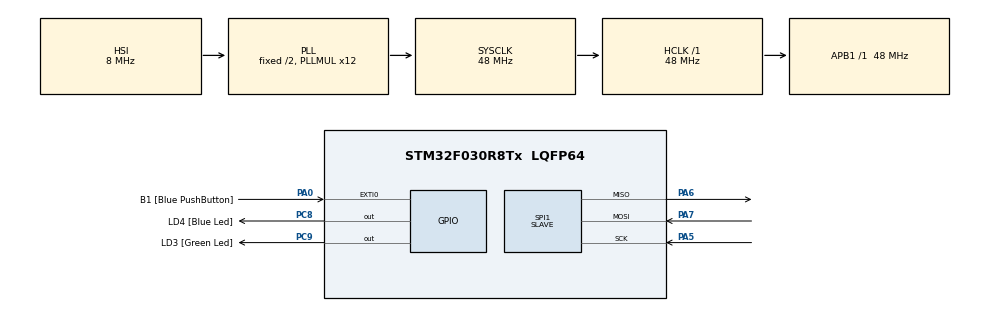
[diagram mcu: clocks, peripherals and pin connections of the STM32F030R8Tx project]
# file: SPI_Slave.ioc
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Mcu.Family=STM32F0
Mcu.Name=STM32F030R8Tx
Mcu.Package=LQFP64
NVIC.SPI1_IRQn=true\:0\:0\:false\:false\:true\:true\:true
PA0.GPIO_Label=B1 [Blue PushButton]
PA0.GPIO_ModeDefaultEXTI=GPIO_MODE_EVT_RISING
PA0.Signal=GPXTI0
PA13.GPIO_Label=SWDIO
PA13.Mode=Serial_Wire
PA13.Signal=SYS_SWDIO
PA14.GPIO_Label=SWCLK
PA14.Mode=Serial_Wire
PA14.Signal=SYS_SWCLK
PA5.Mode=Full_Duplex_Slave
PA5.Signal=SPI1_SCK
PA6.Mode=Full_Duplex_Slave
PA6.Signal=SPI1_MISO
PA7.Mode=Full_Duplex_Slave
PA7.Signal=SPI1_MOSI
PC8.GPIO_Label=LD4 [Blue Led]
PC8.Signal=GPIO_Output
PC9.GPIO_Label=LD3 [Green Led]
PC9.Signal=GPIO_Output
ProjectManager.HeapSize=0x200
ProjectManager.StackSize=0x400
ProjectManager.TargetToolchain=MDK-ARM V5
RCC.AHBFreq_Value=48000000
RCC.APB1Freq_Value=48000000
RCC.APB1TimFreq_Value=48000000
RCC.HCLKFreq_Value=48000000
RCC.PLLMUL=RCC_PLL_MUL12
RCC.SYSCLKFreq_VALUE=48000000
RCC.SYSCLKSource=RCC_SYSCLKSOURCE_PLLCLK
SPI1.Direction=SPI_DIRECTION_2LINES
SPI1.Mode=SPI_MODE_SLAVE
SPI1.VirtualType=VM_SLAVE
board=32F0308DISCOVERY

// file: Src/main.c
/* USER CODE BEGIN Header */
/**
  ******************************************************************************
  * @file           : main.c
  * @brief          : Main program body
  ******************************************************************************
  * @attention
  *
  * <h2><center>&copy; Copyright (c) 2020 STMicroelectronics.
  * All rights reserved.</center></h2>
  *
  * This software component is licensed by ST under BSD 3-Clause license,
  * the "License"; You may not use this file except in compliance with the
  * License. You may obtain a copy of the License at:
  *                        opensource.org/licenses/BSD-3-Clause
  *
  ******************************************************************************
  */
/* USER CODE END Header */

#include "main.h"

SPI_HandleTypeDef hspi1;

void SystemClock_Config(void);
static void MX_GPIO_Init(void);
static void MX_SPI1_Init(void);

/* USER CODE BEGIN 0 */
 uint8_t rcvd_cmd[2];
 uint16_t Master_cmd;
 uint16_t WRITE_CMD = 0xAAB1;
 uint16_t READ_CMD = 0xAAB2;

 uint8_t ack_byte[] ={0xD5,0xE5};
 uint8_t rcvd_buffer[4];
 uint8_t send_buffer[4]={0xB1,0xB2,0xB3,0xB4};

 uint8_t expected_data[4]={0xA1,0xA2,0xA3,0xA4};

  uint8_t Buffer_cmp (uint8_t *pData,uint8_t *pRcv_Data,uint8_t Len)
 {
	 uint8_t count=0;
	 for(uint32_t i=0;i<Len;i++)
	 {
		 if(pData[i]==pRcv_Data[i])
		 {
			 count++;
		 }
	 }
	 if(count==4)
		 return 1;
	 else
		 return 0;
 }
/* USER CODE END 0 */

int main(void)
{

  /* MCU Configuration--------------------------------------------------------*/

  /* Reset of all peripherals, Initializes the Flash interface and the Systick. */
  HAL_Init();

  /* Configure the system clock */
  SystemClock_Config();

  /* Initialize all configured peripherals */
  MX_GPIO_Init();
  MX_SPI1_Init();
  /* USER CODE BEGIN 2 */
//HAL_GPIO_WritePin(GPIOC,GPIO_PIN_8,1);
  /* USER CODE END 2 */

  /* Infinite loop */
  while (1)
  {

    /* USER CODE BEGIN 3 */
		HAL_GPIO_TogglePin(GPIOC,GPIO_PIN_9);
		while(hspi1.State!=HAL_SPI_STATE_READY){}

			HAL_SPI_Receive_IT(&hspi1,rcvd_cmd,2);

			while(hspi1.State!=HAL_SPI_STATE_READY){}

				Master_cmd = (uint16_t)((rcvd_cmd[1]<<8 )+rcvd_cmd[0]);

				if( Master_cmd ==WRITE_CMD || Master_cmd ==READ_CMD )
				{
					HAL_SPI_Transmit_IT(&hspi1,(uint8_t*)&ack_byte,2);
					while(hspi1.State!=HAL_SPI_STATE_READY){}
						HAL_GPIO_WritePin(GPIOC,GPIO_PIN_8,1); //blue
						HAL_GPIO_WritePin(GPIOC,GPIO_PIN_9,1); //blue

				}
				else
				{
						HAL_GPIO_TogglePin(GPIOC,GPIO_PIN_8); //blue
				}
				if(Master_cmd==WRITE_CMD)
				{
					HAL_SPI_Receive_IT(&hspi1,rcvd_buffer,4);
					while(hspi1.State!=HAL_SPI_STATE_READY){}
					if(Buffer_cmp(rcvd_buffer,expected_data,4))
					{
						HAL_GPIO_WritePin(GPIOC,GPIO_PIN_8,1); //blue
					}
					else
					{
						HAL_GPIO_WritePin(GPIOC,GPIO_PIN_9,1); //green
					}
				}
			if(Master_cmd==READ_CMD)
			{
        HAL_SPI_Transmit_IT(&hspi1,send_buffer,4);
				while(hspi1.State!=HAL_SPI_STATE_READY){}
			}

  }
  /* USER CODE END 3 */
}

void SystemClock_Config(void)
{
  RCC_OscInitTypeDef RCC_OscInitStruct = {0};
  RCC_ClkInitTypeDef RCC_ClkInitStruct = {0};

  /** Initializes the CPU, AHB and APB busses clocks
  */
  RCC_OscInitStruct.OscillatorType = RCC_OSCILLATORTYPE_HSI;
  RCC_OscInitStruct.HSIState = RCC_HSI_ON;
  RCC_OscInitStruct.HSICalibrationValue = RCC_HSICALIBRATION_DEFAULT;
  RCC_OscInitStruct.PLL.PLLState = RCC_PLL_ON;
  RCC_OscInitStruct.PLL.PLLSource = RCC_PLLSOURCE_HSI;
  RCC_OscInitStruct.PLL.PLLMUL = RCC_PLL_MUL12;
  RCC_OscInitStruct.PLL.PREDIV = RCC_PREDIV_DIV1;
  if (HAL_RCC_OscConfig(&RCC_OscInitStruct) != HAL_OK)
  {
    Error_Handler();
  }
  /** Initializes the CPU, AHB and APB busses clocks
  */
  RCC_ClkInitStruct.ClockType = RCC_CLOCKTYPE_HCLK|RCC_CLOCKTYPE_SYSCLK
                              |RCC_CLOCKTYPE_PCLK1;
  RCC_ClkInitStruct.SYSCLKSource = RCC_SYSCLKSOURCE_PLLCLK;
  RCC_ClkInitStruct.AHBCLKDivider = RCC_SYSCLK_DIV1;
  RCC_ClkInitStruct.APB1CLKDivider = RCC_HCLK_DIV1;

  if (HAL_RCC_ClockConfig(&RCC_ClkInitStruct, FLASH_LATENCY_1) != HAL_OK)
  {
    Error_Handler();
  }
}

static void MX_SPI1_Init(void)
{

  /* SPI1 parameter configuration*/
  hspi1.Instance = SPI1;
  hspi1.Init.Mode = SPI_MODE_SLAVE;
  hspi1.Init.Direction = SPI_DIRECTION_2LINES;
  hspi1.Init.DataSize = SPI_DATASIZE_8BIT;
  hspi1.Init.CLKPolarity = SPI_POLARITY_LOW;
  hspi1.Init.CLKPhase = SPI_PHASE_2EDGE;
  hspi1.Init.NSS = SPI_NSS_SOFT;
  hspi1.Init.FirstBit = SPI_FIRSTBIT_MSB;
  hspi1.Init.TIMode = SPI_TIMODE_DISABLE;
  hspi1.Init.CRCCalculation = SPI_CRCCALCULATION_DISABLE;
  hspi1.Init.CRCPolynomial = 7;
  hspi1.Init.CRCLength = SPI_CRC_LENGTH_DATASIZE;
  hspi1.Init.NSSPMode = SPI_NSS_PULSE_DISABLE;
  if (HAL_SPI_Init(&hspi1) != HAL_OK)
  {
    Error_Handler();
  }

}

static void MX_GPIO_Init(void)
{
  GPIO_InitTypeDef GPIO_InitStruct = {0};

  /* GPIO Ports Clock Enable */
  __HAL_RCC_GPIOA_CLK_ENABLE();
  __HAL_RCC_GPIOC_CLK_ENABLE();

  /*Configure GPIO pin Output Level */
  HAL_GPIO_WritePin(GPIOC, LD4_Pin|LD3_Pin, GPIO_PIN_RESET);

  /*Configure GPIO pin : B1_Pin */
  GPIO_InitStruct.Pin = B1_Pin;
  GPIO_InitStruct.Mode = GPIO_MODE_EVT_RISING;
  GPIO_InitStruct.Pull = GPIO_NOPULL;
  HAL_GPIO_Init(B1_GPIO_Port, &GPIO_InitStruct);

  /*Configure GPIO pins : LD4_Pin LD3_Pin */
  GPIO_InitStruct.Pin = LD4_Pin|LD3_Pin;
  GPIO_InitStruct.Mode = GPIO_MODE_OUTPUT_PP;
  GPIO_InitStruct.Pull = GPIO_NOPULL;
  GPIO_InitStruct.Speed = GPIO_SPEED_FREQ_LOW;
  HAL_GPIO_Init(GPIOC, &GPIO_InitStruct);

}

void Error_Handler(void)
{
}

/************************ (C) COPYRIGHT STMicroelectronics *****END OF FILE****/
